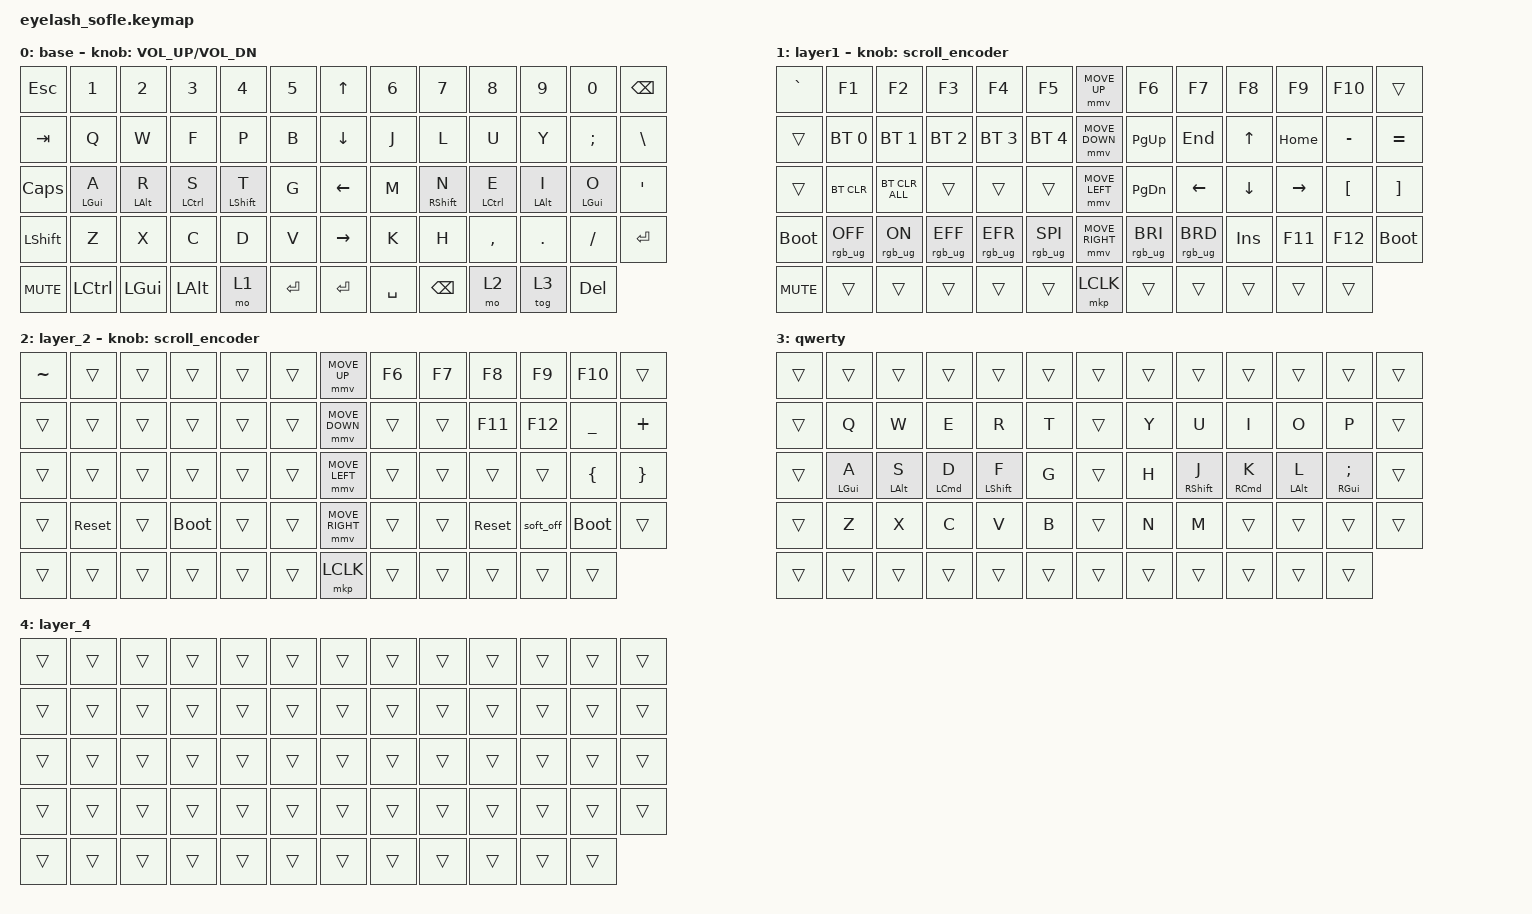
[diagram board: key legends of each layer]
#define ZMK_POINTING_DEFAULT_MOVE_VAL 1200  // 600
#define ZMK_POINTING_DEFAULT_SCRL_VAL 25   // 10

#include <input/processors.dtsi>
#include <zephyr/dt-bindings/input/input-event-codes.h>
#include <behaviors.dtsi>
#include <dt-bindings/zmk/bt.h>
#include <dt-bindings/zmk/keys.h>
#include <dt-bindings/zmk/pointing.h>
#include <dt-bindings/zmk/rgb.h>

&mmv_input_listener { input-processors = <&zip_xy_scaler 2 1>; };

&msc_input_listener { input-processors = <&zip_scroll_scaler 2 1>; };

&msc {
    acceleration-exponent = <1>;      // 0
    time-to-max-speed-ms = <100>;       // 300
    delay-ms = <0>;                   // 0
};

&mmv {
    time-to-max-speed-ms = <500>;
    acceleration-exponent = <1>;
    trigger-period-ms = <16>;
};

/ {
    scroll_encoder: scroll_encoder {
        compatible = "zmk,behavior-sensor-rotate";
        #sensor-binding-cells = <0>;
        bindings = <&msc SCRL_DOWN>, <&msc SCRL_UP>;

        tap-ms = <100>;
    };

    hml: hml {
        compatible = "zmk,behavior-hold-tap";
        label = "HML";
        bindings = <&kp>, <&kp>;

        #binding-cells = <2>;
        flavor = "balanced";
        tapping-term-ms = <280>;
        quick-tap-ms = <175>;
        require-prior-idle-ms = <150>;
        hold-trigger-on-release;
        hold-trigger-key-positions = <59 60 61 62 63 57 56 55 54 53 7 8 9 10 11 12 20 21 22 23 24 25 33 34 35 36 37 38 46 47 48 49 50 51 61 62 63>;
    };

    hmr: hmr {
        compatible = "zmk,behavior-hold-tap";
        label = "HMR";
        bindings = <&kp>, <&kp>;

        #binding-cells = <2>;
        tapping-term-ms = <280>;
        quick-tap-ms = <175>;
        require-prior-idle-ms = <150>;
        flavor = "balanced";
        hold-trigger-key-positions = <53 54 55 56 57 59 60 61 62 63 7 8 9 10 11 12 20 21 22 23 24 25 33 34 35 36 37 38 46 47 48 49 50 51 60 61 62 63>;
        hold-trigger-on-release;
    };

    behaviors {
    };

    keymap {
        compatible = "zmk,keymap";

        base {
            bindings = <
&kp ESC     &kp N1       &kp N2        &kp N3        &kp N4        &kp N5       &kp UP_ARROW     &kp N6     &kp N7         &kp N8        &kp N9       &kp N0       &kp BACKSPACE
&kp TAB     &kp Q        &kp W         &kp F         &kp P         &kp B        &kp DOWN_ARROW   &kp J      &kp L          &kp U         &kp Y        &kp SEMI     &kp BSLH
&kp CAPS    &hml LGUI A  &hml LALT R   &hml LCTRL S  &hml LSHFT T  &kp G        &kp LEFT_ARROW   &kp M      &hmr RSHFT N   &hmr LCTRL E  &hmr LALT I  &hmr LGUI O  &kp APOS
&kp LSHFT   &kp Z        &kp X         &kp C         &kp D         &kp V        &kp RIGHT_ARROW  &kp K      &kp H          &kp COMMA     &kp DOT      &kp FSLH     &kp ENTER
&kp C_MUTE  &kp LCTRL    &kp LEFT_GUI  &kp LEFT_ALT  &mo 1         &kp ENTER    &kp ENTER        &kp SPACE  &kp BACKSPACE  &mo 2         &tog 3       &kp DELETE
            >;

            sensor-bindings = <&inc_dec_kp C_VOLUME_UP C_VOL_DN>;
            display-name = "base";
        };

        nav {
            bindings = <
&kp GRAVE    &kp F1           &kp F2          &kp F3           &kp F4           &kp F5             &mmv MOVE_UP     &kp F6           &kp F7           &kp F8      &kp F9     &kp F10           &trans
&trans       &bt BT_SEL 0     &bt BT_SEL 1    &bt BT_SEL 2     &bt BT_SEL 3     &bt BT_SEL 4       &mmv MOVE_DOWN   &kp PG_UP        &kp END          &kp UP      &kp HOME   &kp MINUS         &kp EQUAL
&trans       &bt BT_CLR       &bt BT_CLR_ALL  &trans           &trans           &trans             &mmv MOVE_LEFT   &kp PG_DN        &kp LEFT         &kp DOWN    &kp RIGHT  &kp LEFT_BRACKET  &kp RIGHT_BRACKET
&bootloader  &rgb_ug RGB_OFF  &rgb_ug RGB_ON  &rgb_ug RGB_EFF  &rgb_ug RGB_EFR  &rgb_ug RGB_SPI    &mmv MOVE_RIGHT  &rgb_ug RGB_BRI  &rgb_ug RGB_BRD  &kp INSERT  &kp F11    &kp F12           &bootloader
&kp C_MUTE   &trans           &trans          &trans           &trans           &trans             &mkp LCLK        &trans           &trans           &trans      &trans     &trans
            >;

            display-name = "layer1";
            sensor-bindings = <&scroll_encoder>;
        };

        layer_2 {
            bindings = <
&kp TILDE  &trans      &trans  &trans       &trans  &trans    &mmv MOVE_UP     &kp F6  &kp F7  &kp F8      &kp F9     &kp F10      &trans
&trans     &trans      &trans  &trans       &trans  &trans    &mmv MOVE_DOWN   &trans  &trans  &kp F11     &kp F12    &kp UNDER    &kp PLUS
&trans     &trans      &trans  &trans       &trans  &trans    &mmv MOVE_LEFT   &trans  &trans  &trans      &trans     &kp LBRC     &kp RBRC
&trans     &sys_reset  &trans  &bootloader  &trans  &trans    &mmv MOVE_RIGHT  &trans  &trans  &sys_reset  &soft_off  &bootloader  &trans
&trans     &trans      &trans  &trans       &trans  &trans    &mkp LCLK        &trans  &trans  &trans      &trans     &trans
            >;

            sensor-bindings = <&scroll_encoder>;
        };

        qwerty {
            bindings = <
&trans  &trans       &trans       &trans       &trans         &trans    &trans  &trans  &trans         &trans       &trans       &trans               &trans
&trans  &kp Q        &kp W        &kp E        &kp R          &kp T     &trans  &kp Y   &kp U          &kp I        &kp O        &kp P                &trans
&trans  &hml LGUI A  &hml LALT S  &hml LCMD D  &hml LSHIFT F  &kp G     &trans  &kp H   &hmr RSHIFT J  &hmr RCMD K  &hmr LALT L  &hmr RGUI SEMICOLON  &trans
&trans  &kp Z        &kp X        &kp C        &kp V          &kp B     &trans  &kp N   &kp M          &trans       &trans       &trans               &trans
&trans  &trans       &trans       &trans       &trans         &trans    &trans  &trans  &trans         &trans       &trans       &trans
            >;
        };

        layer_4 {
            bindings = <
&trans  &trans  &trans  &trans  &trans  &trans    &trans  &trans  &trans  &trans  &trans  &trans  &trans
&trans  &trans  &trans  &trans  &trans  &trans    &trans  &trans  &trans  &trans  &trans  &trans  &trans
&trans  &trans  &trans  &trans  &trans  &trans    &trans  &trans  &trans  &trans  &trans  &trans  &trans
&trans  &trans  &trans  &trans  &trans  &trans    &trans  &trans  &trans  &trans  &trans  &trans  &trans
&trans  &trans  &trans  &trans  &trans  &trans    &trans  &trans  &trans  &trans  &trans  &trans
            >;
        };
    };

    conditional_layers {
        compatible = "zmk,conditional-layers";

        etc {
            if-layers = <3 1>;
            then-layer = <1>;
        };
    };
};
